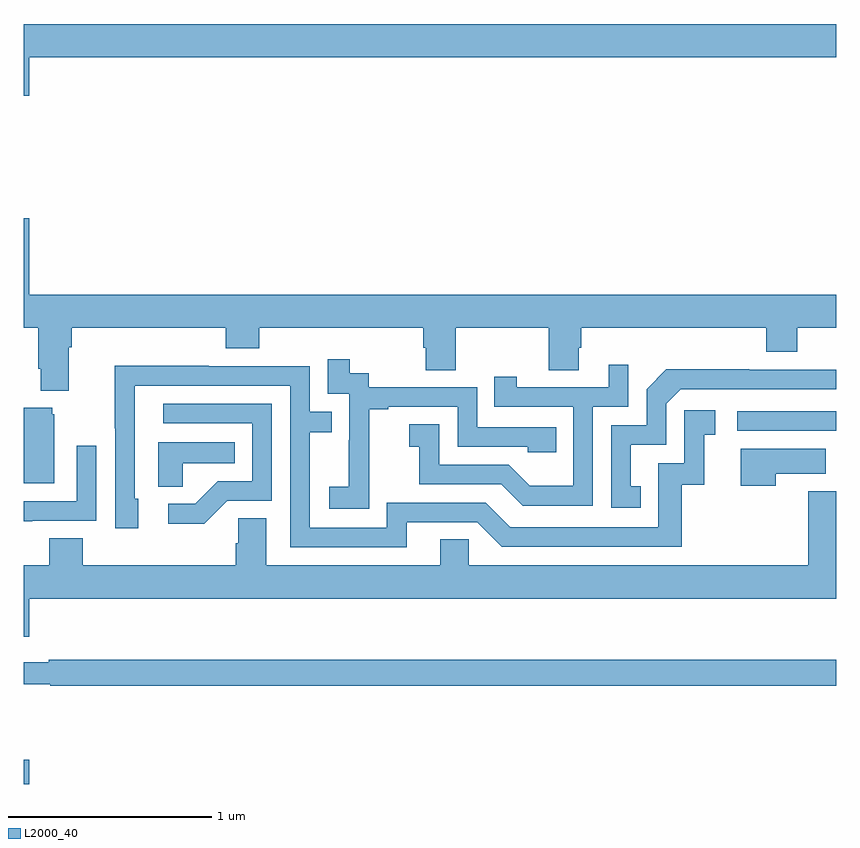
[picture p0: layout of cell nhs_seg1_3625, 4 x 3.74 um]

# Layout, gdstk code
import gdstk
lib = gdstk.Library(unit=1e-6, precision=1e-09)
def R(c, l, rs):  # rectangles x0, y0, x1, y1
    for r in rs: c.add(gdstk.rectangle(r[:2], r[2:], *l))
def P(c, l, *ps):  # polygons
    for p in ps: c.add(gdstk.Polygon(p, *l))
L2000_40 = (2000, 40)

nhs_seg1_3625 = lib.new_cell('nhs_seg1_3625')
R(nhs_seg1_3625, L2000_40, [(309,504.199,309.028,504.319), (312.513,505.938,313,506.034)])
P(nhs_seg1_3625, L2000_40, [(309.028,507.776),(313,507.776),(313,507.94),(309,507.94),(309,507.588),(309.028,507.588)],
  [(309.223,506.348),(309.236,506.348),(309.236,506.444),(309.995,506.444),(309.995,506.345),(310.16,506.345),(310.16,506.444),(310.967,506.444),(310.967,506.346),(310.979,506.346),(310.979,506.236),(311.127,506.236),(311.127,506.444),(311.584,506.444),(311.584,506.236),(311.731,506.236),(311.731,506.346),(311.744,506.346),(311.744,506.444),(312.656,506.444),(312.656,506.327),(312.808,506.327),(312.808,506.444),(313,506.444),(313,506.608),(309.028,506.608),(309.028,506.983),(309,506.983),(309,506.444),(309.071,506.444),(309.071,506.242),(309.083,506.242),(309.083,506.135),(309.223,506.135)],
  [(310.701,505.759),(310.7,505.759),(310.7,506.043),(310.795,506.043),(310.795,506.055),(311.136,506.055),(311.136,505.86),(311.481,505.86),(311.481,505.833),(311.621,505.833),(311.621,505.956),(311.232,505.956),(311.232,506.151),(310.698,506.151),(310.698,506.22),(310.606,506.22),(310.606,506.29),(310.497,506.29),(310.497,506.121),(310.602,506.121),(310.602,505.892),(310.601,505.892),(310.601,505.663),(310.503,505.663),(310.503,505.553),(310.701,505.553)],
  [(311.802,506.055),(311.976,506.055),(311.976,506.263),(311.879,506.263),(311.879,506.151),(311.428,506.151),(311.428,506.203),(311.317,506.203),(311.317,506.055),(311.706,506.055),(311.706,505.666),(311.492,505.666),(311.388,505.77),(311.046,505.77),(311.046,505.969),(310.899,505.969),(310.899,505.859),(310.948,505.859),(310.948,505.674),(311.351,505.674),(311.456,505.569),(311.802,505.569)],
  [(310.885,505.488),(311.232,505.488),(311.352,505.368),(312.239,505.368),(312.239,505.671),(312.35,505.671),(312.35,505.917),(312.403,505.917),(312.403,506.038),(312.252,506.038),(312.252,505.779),(312.123,505.779),(312.123,505.464),(311.394,505.464),(311.274,505.584),(310.788,505.584),(310.788,505.461),(310.407,505.461),(310.407,505.93),(310.517,505.93),(310.517,506.031),(310.407,506.031),(310.407,506.256),(309.911,506.256),(309.911,506.258),(309.448,506.258),(309.448,505.951),(309.45,505.951),(309.45,505.458),(309.565,505.458),(309.565,505.602),(309.546,505.602),(309.546,506.16),(310.311,506.16),(310.311,505.365),(310.885,505.365)],
  [(312.038,505.665),(311.989,505.665),(311.989,505.869),(312.162,505.869),(312.162,506.07),(312.234,506.142),(313,506.142),(313,506.238),(312.572,506.238),(312.572,506.24),(312.164,506.24),(312.066,506.142),(312.066,505.965),(311.892,505.965),(311.892,505.56),(312.038,505.56)],
  [(310.002,505.593),(310.221,505.593),(310.221,506.07),(309.687,506.07),(309.687,505.974),(310.125,505.974),(310.125,505.689),(309.956,505.689),(309.845,505.578),(309.711,505.578),(309.711,505.481),(309.889,505.481)],
  [(309.151,506.019),(309.14,506.019),(309.14,506.05),(309,506.05),(309,505.679),(309.151,505.679)],
  [(309.783,505.778),(310.04,505.778),(310.04,505.882),(309.662,505.882),(309.662,505.663),(309.783,505.663)],
  [(309.041,505.494),(309.357,505.494),(309.357,505.864),(309.261,505.864),(309.261,505.59),(309,505.59),(309,505.493),(309.041,505.493)],
  [(312.701,505.727),(312.949,505.727),(312.949,505.849),(312.53,505.849),(312.53,505.668),(312.701,505.668)],
  [(309.028,505.112),(313,505.112),(313,505.639),(312.863,505.639),(312.863,505.276),(311.19,505.276),(311.19,505.403),(311.051,505.403),(311.051,505.276),(310.195,505.276),(310.195,505.508),(310.056,505.508),(310.056,505.385),(310.043,505.385),(310.043,505.276),(309.29,505.276),(309.29,505.409),(309.125,505.409),(309.125,505.276),(309,505.276),(309,504.924),(309.028,504.924)],
  [(313,504.811),(309.124,504.811),(309.124,504.798),(309,504.798),(309,504.69),(309.13,504.69),(309.13,504.682),(313,504.682)])

lib.write_gds('nhs_seg1_3625.gds')
